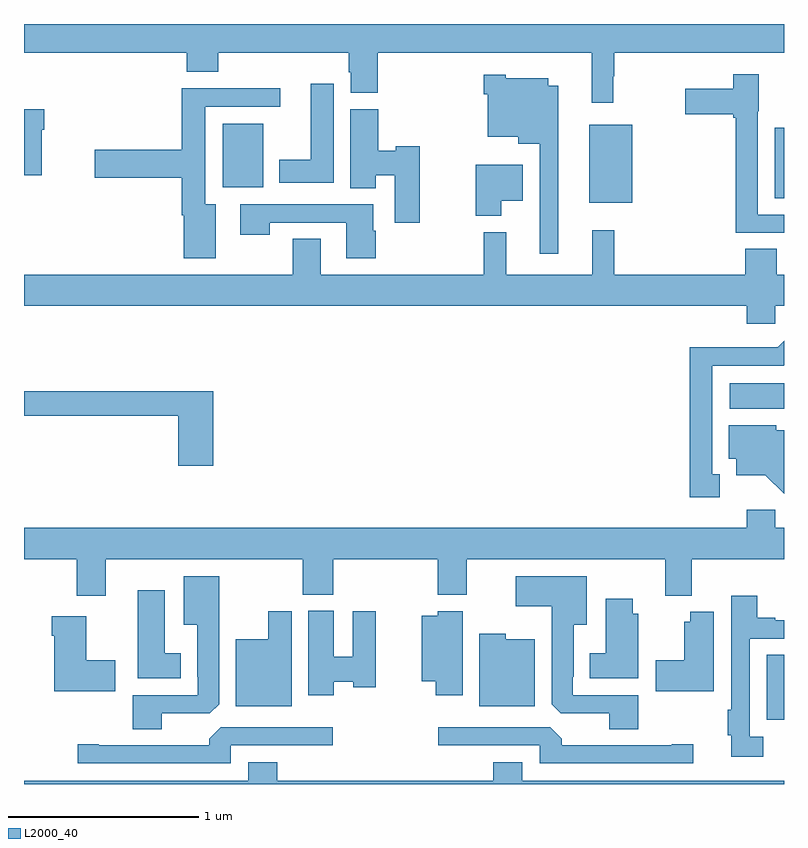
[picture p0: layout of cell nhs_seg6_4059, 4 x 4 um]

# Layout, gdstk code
import gdstk
lib = gdstk.Library(unit=1e-6, precision=1e-09)
def R(c, l, rs):  # rectangles x0, y0, x1, y1
    for r in rs: c.add(gdstk.rectangle(r[:2], r[2:], *l))
def P(c, l, *ps):  # polygons
    for p in ps: c.add(gdstk.Polygon(p, *l))
L2000_40 = (2000, 40)

nhs_seg6_4059 = lib.new_cell('nhs_seg6_4059')
R(nhs_seg6_4059, L2000_40, [(354.908,931.837,355,932.18), (354.714,933.476,355,933.61), (353.975,934.559,354.202,934.969), (354.95,934.584,355,934.953), (352.046,934.64,352.258,934.975)])
P(nhs_seg6_4059, L2000_40, [(354.1,935.225),(354.107,935.225),(354.107,935.348),(355,935.348),(355,935.5),(351,935.5),(351,935.348),(351.857,935.348),(351.857,935.249),(352.022,935.249),(352.022,935.348),(352.709,935.348),(352.709,935.247),(352.721,935.247),(352.721,935.137),(352.862,935.137),(352.862,935.348),(353.989,935.348),(353.989,935.085),(354.1,935.085)],
  [(355,934.497),(354.861,934.497),(354.861,935.04),(354.868,935.04),(354.868,935.236),(354.732,935.236),(354.732,935.158),(354.48,935.158),(354.48,935.024),(354.732,935.024),(354.732,935.006),(354.745,935.006),(354.745,934.401),(355,934.401)],
  [(353.812,935.176),(353.758,935.176),(353.758,935.215),(353.535,935.215),(353.535,935.233),(353.42,935.233),(353.42,935.129),(353.441,935.129),(353.441,934.907),(353.6,934.907),(353.6,934.871),(353.715,934.871),(353.715,934.29),(353.812,934.29)],
  [(352.63,935.185),(352.508,935.185),(352.508,934.786),(352.343,934.786),(352.343,934.664),(352.63,934.664)],
  [(352.009,934.552),(351.955,934.552),(351.955,935.064),(352.348,935.064),(352.348,935.162),(351.83,935.162),(351.83,934.838),(351.372,934.838),(351.372,934.691),(351.83,934.691),(351.83,934.493),(351.842,934.493),(351.842,934.266),(352.009,934.266)],
  [(353.082,934.856),(352.956,934.856),(352.956,934.833),(352.865,934.833),(352.865,935.052),(352.718,935.052),(352.718,934.636),(352.852,934.636),(352.852,934.703),(352.952,934.703),(352.952,934.455),(353.082,934.455)],
  [(351.094,934.943),(351.107,934.943),(351.107,935.052),(351,935.052),(351,934.703),(351.094,934.703)],
  [(353.512,934.571),(353.626,934.571),(353.626,934.759),(353.378,934.759),(353.378,934.49),(353.512,934.49)],
  [(352.85,934.413),(352.837,934.413),(352.837,934.551),(352.137,934.551),(352.137,934.392),(352.293,934.392),(352.293,934.455),(352.697,934.455),(352.697,934.266),(352.85,934.266)],
  [(354.803,933.923),(354.954,933.923),(354.954,934.016),(355,934.016),(355,934.18),(354.962,934.18),(354.962,934.316),(354.797,934.316),(354.797,934.18),(354.107,934.18),(354.107,934.414),(353.99,934.414),(353.99,934.18),(353.537,934.18),(353.537,934.405),(353.419,934.405),(353.419,934.18),(352.561,934.18),(352.561,934.37),(352.414,934.37),(352.414,934.18),(351,934.18),(351,934.016),(354.803,934.016)],
  [(354.661,933.129),(354.622,933.129),(354.622,933.702),(354.999,933.702),(355,933.703),(355,933.832),(354.966,933.798),(354.744,933.798),(354.744,933.8),(354.504,933.8),(354.504,933.009),(354.661,933.009)],
  [(351.995,933.568),(351,933.568),(351,933.439),(351.812,933.439),(351.812,933.174),(351.995,933.174)],
  [(355,933.361),(354.96,933.361),(354.96,933.388),(354.71,933.388),(354.71,933.212),(354.749,933.212),(354.749,933.125),(354.901,933.125),(355,933.027)],
  [(351,932.684),(351.278,932.684),(351.278,932.49),(351.43,932.49),(351.43,932.684),(352.468,932.684),(352.468,932.497),(352.628,932.497),(352.628,932.684),(353.177,932.684),(353.177,932.495),(353.329,932.495),(353.329,932.684),(354.374,932.684),(354.374,932.492),(354.514,932.492),(354.514,932.684),(355,932.684),(355,932.848),(354.954,932.848),(354.954,932.944),(354.803,932.944),(354.803,932.848),(351,932.848)],
  [(354.233,931.968),(353.889,931.968),(353.889,932.065),(353.893,932.065),(353.893,932.339),(353.962,932.339),(353.962,932.593),(353.589,932.593),(353.589,932.435),(353.777,932.435),(353.777,931.921),(353.826,931.872),(354.08,931.872),(354.08,931.789),(354.233,931.789)],
  [(351.724,931.872),(351.978,931.872),(352.027,931.921),(352.027,932.593),(351.842,932.593),(351.842,932.339),(351.911,932.339),(351.911,932.065),(351.915,932.065),(351.915,931.968),(351.572,931.968),(351.572,931.789),(351.724,931.789)],
  [(351.826,932.188),(351.742,932.188),(351.742,932.521),(351.599,932.521),(351.599,932.057),(351.826,932.057)],
  [(354.892,931.749),(354.819,931.749),(354.819,932.265),(355,932.265),(355,932.361),(354.955,932.361),(354.955,932.374),(354.859,932.374),(354.859,932.491),(354.723,932.491),(354.723,931.892),(354.703,931.892),(354.703,931.756),(354.722,931.756),(354.722,931.644),(354.892,931.644)],
  [(354.232,932.397),(354.205,932.397),(354.205,932.476),(354.062,932.476),(354.062,932.188),(353.978,932.188),(353.978,932.057),(354.232,932.057)],
  [(352.63,932.039),(352.734,932.039),(352.734,932.009),(352.852,932.009),(352.852,932.41),(352.73,932.41),(352.73,932.169),(352.63,932.169),(352.63,932.412),(352.496,932.412),(352.496,931.968),(352.63,931.968)],
  [(352.408,932.41),(352.286,932.41),(352.286,932.263),(352.115,932.263),(352.115,931.91),(352.408,931.91)],
  [(353.308,932.41),(353.178,932.41),(353.178,932.386),(353.093,932.386),(353.093,932.042),(353.167,932.042),(353.167,931.968),(353.308,931.968)],
  [(354.631,932.407),(354.506,932.407),(354.506,932.353),(354.476,932.353),(354.476,932.151),(354.324,932.151),(354.324,931.988),(354.631,931.988)],
  [(351.481,932.151),(351.328,932.151),(351.328,932.383),(351.146,932.383),(351.146,932.279),(351.158,932.279),(351.158,931.988),(351.481,931.988)],
  [(353.689,932.263),(353.535,932.263),(353.535,932.29),(353.396,932.29),(353.396,931.91),(353.689,931.91)],
  [(352.089,931.704),(352.624,931.704),(352.624,931.8),(352.035,931.8),(351.974,931.738),(351.974,931.704),(351.394,931.704),(351.394,931.709),(351.282,931.709),(351.282,931.608),(352.089,931.608)],
  [(354.523,931.709),(354.41,931.709),(354.41,931.704),(353.831,931.704),(353.831,931.738),(353.769,931.8),(353.181,931.8),(353.181,931.704),(353.715,931.704),(353.715,931.608),(354.523,931.608)],
  [(355,931.516),(353.623,931.516),(353.623,931.615),(353.471,931.615),(353.471,931.516),(352.334,931.516),(352.334,931.615),(352.181,931.615),(352.181,931.516),(351,931.516),(351,931.5),(355,931.5)])

lib.write_gds('nhs_seg6_4059.gds')
